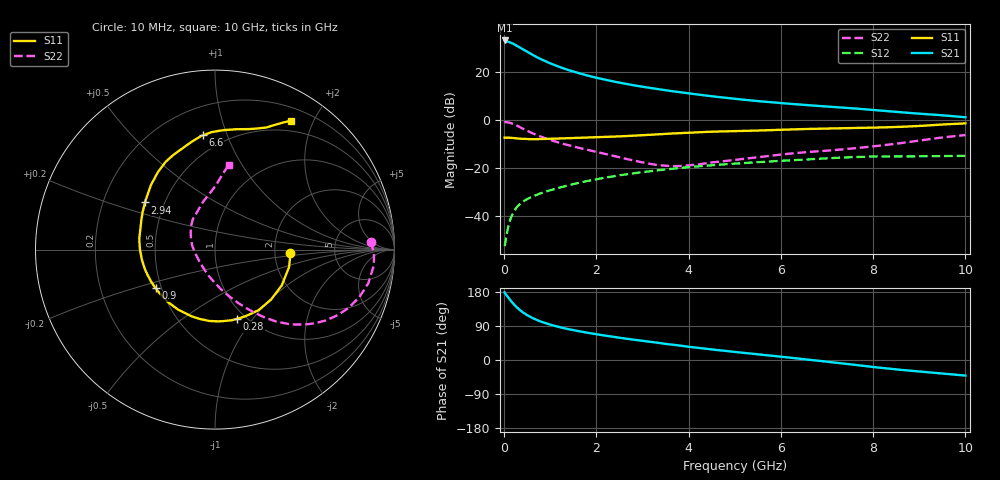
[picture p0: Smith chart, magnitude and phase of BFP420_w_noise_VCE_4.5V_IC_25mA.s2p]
! Infineon Technologies  Discrete & RF Semiconductors
! BFP420
! VCE =  4.5 V,  IC =  25 mA
! Common Emitter S-Parameters:  Jan 2016
# GHz  S  MA  R  50
!  f  S11  S21  S12  S22
! GHz  MAG  ANG  MAG  ANG  MAG  ANG  MAG  ANG
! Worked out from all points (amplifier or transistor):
!   233 points, 10 MHz to 10 GHz, reference 50 ohm
!   highest |S21| = 33.0 dB at 10 MHz (marker M1)
!   |S21| within 3 dB of that: start of sweep to 347.3 MHz
!   unconditionally stable (mu >= 1): start of sweep to 31.1 MHz; 1.685 GHz to end of sweep
!   at 200 MHz: K = 0.43, MSG = 35.2 dB, |S12| = -38.7 dB
!   at 1.74 GHz: K = 1.01, MAG = 21.7 dB, |S12| = -25.8 dB
!   at 10 GHz: K = 1.07, MAG = 6.5 dB, |S12| = -15.1 dB
!   lowest NFmin = 1.38 dB at 900 MHz
!   S11 on the Smith chart (normalised r, x): 10 MHz: 2.44, -0.11; 280 MHz: 0.91, -0.84; 900 MHz: 0.46, -0.24; 2.94 GHz: 0.39, +0.26; 6.6 GHz: 0.38, +0.82; 10 GHz: 0.36, +1.70
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0.01  0.4202 -2.6  44.77 178.4  0.0023 33.6  0.8693 2.8
0.02  0.4208 -4.8  43.51 175.8  0.0025 35.8  0.8862 -1.6
0.055  0.4225 -14.7  42.72 170.1  0.004 54.3  0.8875 -6.3
0.1  0.4223 -28.1  41.82 163.0  0.0064 63.7  0.8749 -12.3
0.15  0.4183 -41.8  40.12 155.4  0.0092 64.8  0.8462 -18.4
0.2  0.4157 -54.2  38.12 148.4  0.0116 63.9  0.8103 -23.8
0.28  0.4045 -72.4  34.54 138.5  0.0151 61.5  0.7456 -31.1
0.36  0.4 -88.0  31.18 130.1  0.0179 59.6  0.6819 -37.2
0.45  0.3956 -102.5  27.66 122.0  0.0207 57.9  0.6162 -42.7
0.6  0.3927 -121.5  22.83 111.5  0.0246 56.3  0.5263 -49.6
0.7  0.3924 -131.5  20.28 105.9  0.0269 55.9  0.4786 -53.1
0.9  0.3951 -146.9  16.39 96.9  0.0315 55.6  0.4057 -58.7
1.2  0.4049 -163.5  12.53 86.7  0.0382 55.5  0.329 -66.0
1.68  0.4195 178.1  8.961 74.7  0.0495 54.4  0.2503 -76.4
2.2  0.434 163.2  6.756 64.1  0.0619 51.6  0.1916 -88.5
2.94  0.4701 146.0  4.952 51.5  0.0791 46.0  0.1319 -113.6
3.4  0.4987 136.8  4.234 44.3  0.0893 42.0  0.1113 -136.3
5.1  0.5792 112.5  2.655 20.0  0.1229 26.6  0.1489 154.1
6.6  0.6399 96.0  1.998 0.8  0.149 13.1  0.2121 124.5
6.8  0.6466 93.9  1.935 -1.8  0.1526 11.2  0.2184 121.1
8.4  0.6967 74.5  1.478 -23.6  0.1712 -6.5  0.306 96.8
10  0.835 59.4  1.122 -41.2  0.1758 -18.9  0.4772 80.8
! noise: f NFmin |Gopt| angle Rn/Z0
0.9  1.38  0.22  -154  0.13
1.8  1.65  0.29  -143  0.13
2.4  1.81  0.26  -138  0.17
3  1.83  0.34  -129  0.18
4  1.97  0.45  -112  0.27
5  2.4  0.49  -95  0.44
6  2.85  0.54  -84  0.65
